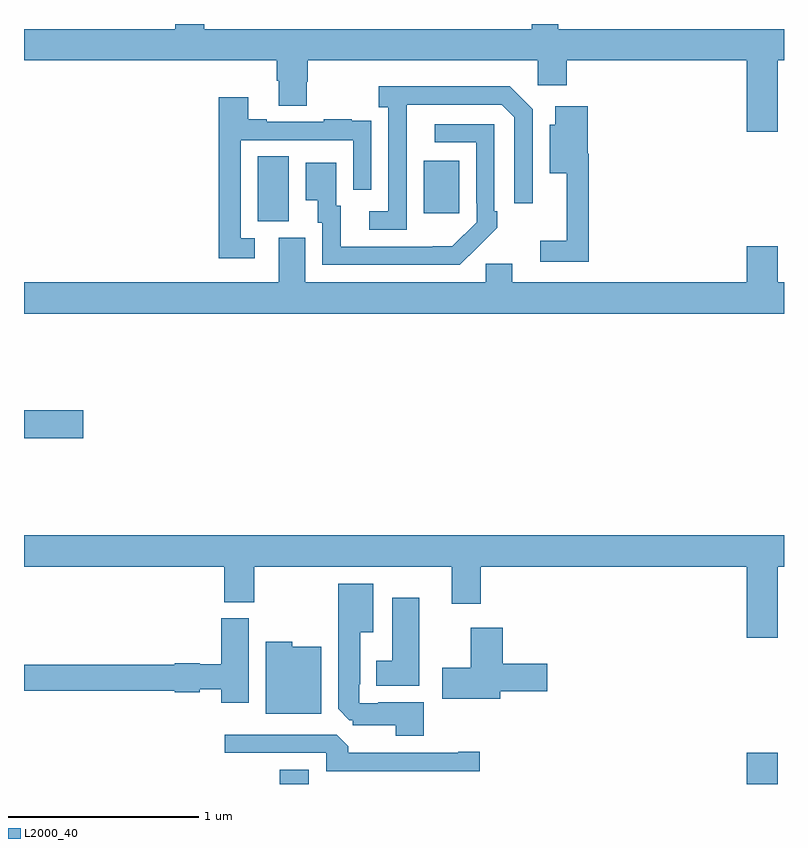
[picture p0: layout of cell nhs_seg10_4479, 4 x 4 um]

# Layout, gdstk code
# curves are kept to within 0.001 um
import gdstk
lib = gdstk.Library(unit=1e-6, precision=1e-09)
def R(c, l, rs):  # rectangles x0, y0, x1, y1
    for r in rs: c.add(gdstk.rectangle(r[:2], r[2:], *l))
def P(c, l, *ps):  # polygons
    for p in ps: c.add(gdstk.Polygon(p, *l))
L2000_40 = (2000, 40)

nhs_seg10_4479 = lib.new_cell('nhs_seg10_4479')
R(nhs_seg10_4479, L2000_40, [(366.347,1304.5,366.499,1304.575), (368.804,1304.5,368.968,1304.665), (365,1306.319,365.311,1306.466), (366.23,1307.461,366.394,1307.804), (367.103,1307.505,367.291,1307.779)])
P(nhs_seg10_4479, L2000_40, [(368.968,1308.308),(369,1308.308),(369,1308.472),(367.813,1308.472),(367.813,1308.5),(367.673,1308.5),(367.673,1308.472),(365.948,1308.472),(365.948,1308.5),(365.795,1308.5),(365.795,1308.472),(365,1308.472),(365,1308.308),(366.329,1308.308),(366.329,1308.202),(366.341,1308.202),(366.341,1308.07),(366.489,1308.07),(366.489,1308.195),(366.494,1308.195),(366.494,1308.308),(367.704,1308.308),(367.704,1308.177),(367.856,1308.177),(367.856,1308.308),(368.804,1308.308),(368.804,1307.934),(368.968,1307.934)],
  [(367.014,1307.875),(367.015,1308.075),(367.515,1308.075),(367.581,1308.009),(367.581,1307.556),(367.677,1307.556),(367.677,1308.051),(367.556,1308.172),(366.867,1308.172),(366.867,1308.062),(366.918,1308.062),(366.918,1307.514),(366.816,1307.514),(366.816,1307.418),(367.014,1307.418)],
  [(366.214,1307.373),(366.141,1307.373),(366.141,1307.889),(366.732,1307.889),(366.732,1307.628),(366.828,1307.628),(366.828,1307.882),(366.827,1307.882),(366.827,1307.991),(366.725,1307.991),(366.725,1307.998),(366.577,1307.998),(366.577,1307.985),(366.277,1307.985),(366.277,1307.998),(366.181,1307.998),(366.181,1308.115),(366.025,1308.115),(366.025,1307.268),(366.214,1307.268)],
  [(367.973,1307.818),(367.967,1307.818),(367.967,1308.067),(367.796,1308.067),(367.796,1307.971),(367.766,1307.971),(367.766,1307.714),(367.856,1307.714),(367.856,1307.359),(367.716,1307.359),(367.716,1307.25),(367.973,1307.25)],
  [(367.385,1307.323),(367.386,1307.322),(367.491,1307.427),(367.491,1307.515),(367.476,1307.515),(367.476,1307.973),(367.161,1307.973),(367.161,1307.877),(367.38,1307.877),(367.38,1307.557),(367.383,1307.557),(367.383,1307.457),(367.255,1307.329),(366.667,1307.328),(366.667,1307.544),(366.643,1307.544),(366.643,1307.77),(366.482,1307.77),(366.482,1307.573),(366.545,1307.573),(366.545,1307.454),(366.57,1307.454),(366.57,1307.232),(367.294,1307.232)],
  [(369,1307.14),(368.968,1307.14),(368.968,1307.329),(368.804,1307.329),(368.804,1307.14),(367.57,1307.14),(367.57,1307.238),(367.431,1307.238),(367.431,1307.14),(366.481,1307.14),(366.481,1307.376),(366.341,1307.376),(366.341,1307.14),(365,1307.14),(365,1306.976),(369,1306.976)],
  [(368.968,1305.644),(369,1305.644),(369,1305.808),(365,1305.808),(365,1305.644),(366.053,1305.644),(366.053,1305.457),(366.213,1305.457),(366.213,1305.644),(367.25,1305.644),(367.25,1305.45),(367.403,1305.45),(367.403,1305.644),(368.804,1305.644),(368.804,1305.27),(368.968,1305.27)],
  [(367.105,1304.929),(366.865,1304.929),(366.865,1304.925),(366.765,1304.925),(366.765,1305.025),(366.769,1305.025),(366.769,1305.299),(366.838,1305.299),(366.838,1305.553),(366.653,1305.553),(366.653,1304.895),(366.713,1304.835),(366.729,1304.835),(366.729,1304.808),(366.956,1304.808),(366.956,1304.753),(367.105,1304.753)],
  [(367.081,1305.481),(366.938,1305.481),(366.938,1305.148),(366.854,1305.148),(366.854,1305.017),(367.081,1305.017)],
  [(366.184,1305.372),(366.038,1305.372),(366.038,1305.129),(365.924,1305.129),(365.924,1305.136),(365.793,1305.136),(365.793,1305.128),(365,1305.128),(365,1304.992),(365.793,1304.992),(365.793,1304.984),(365.924,1304.984),(365.924,1304.999),(366.038,1304.999),(366.038,1304.928),(366.184,1304.928)],
  [(367.507,1304.987),(367.753,1304.987),(367.753,1305.134),(367.52,1305.134),(367.52,1305.322),(367.352,1305.322),(367.352,1305.111),(367.2,1305.111),(367.2,1304.948),(367.507,1304.948)],
  [(366.565,1305.223),(366.411,1305.223),(366.411,1305.25),(366.272,1305.25),(366.272,1304.87),(366.565,1304.87)],
  [(367.399,1304.669),(367.286,1304.669),(367.286,1304.664),(366.707,1304.664),(366.707,1304.698),(366.645,1304.76),(366.057,1304.76),(366.057,1304.664),(366.591,1304.664),(366.591,1304.568),(367.399,1304.568)])

lib.write_gds('nhs_seg10_4479.gds')
